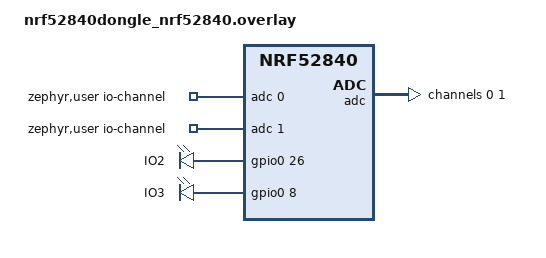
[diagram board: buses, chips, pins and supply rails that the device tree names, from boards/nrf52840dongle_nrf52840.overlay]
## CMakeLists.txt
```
cmake_minimum_required(VERSION 3.20.0)

list(APPEND BOARD_ROOT ${CMAKE_CURRENT_SOURCE_DIR}/)

find_package(Zephyr REQUIRED HINTS $ENV{ZEPHYR_BASE})
project(crazyradio2)

target_sources(app PRIVATE src/main.c src/esb.c src/crusb.c src/led.c src/rpc.c src/radio_mode.c src/api.c src/fem.c src/contwave.c src/button.c src/system.c src/power_measurement.c src/legacy_usb.c)


#[[
target_sources(app PRIVATE src/main.c)
]]
```

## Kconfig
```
menu "Crazyradio 2.0 firmware"

config ESB_PACKET_LOSS_PERCENT
   int "Percent of generated packet loss, between 0 and 100"
   range 0 100
   default 0

config ESB_ACK_LOSS_PERCENT
   int "Percent of generated ack loss, between 0 and 100"
   range 0 100
   default 0
   
menuconfig ESB
    bool "Enhanced ShockBurst"
    default n
    select NRFX_PPI if HAS_HW_NRF_PPI
    select NRFX_DPPI if HAS_HW_NRF_DPPIC
    help
      Enable ESB functionality.

config TARGET_UF2_BOOTLOADER
   bool "Build U2F file and set proper linker setting to work with the UF2 bootloader"
   default false
   select BUILD_OUTPUT_UF2

config FLASH_LOAD_OFFSET
   default 0x27000 if TARGET_UF2_BOOTLOADER && SOC_NRF52833_QIAA
   default 0x26000 if TARGET_UF2_BOOTLOADER && SOC_NRF52840_QIAA

config USE_DCDC
   bool
   depends on SOC_DCDC_NRF52X

config LEGACY_USB_PROTOCOL
   bool "Use legacy, Crazyradio (PA), USB protocol"
   default n

config USB_DEVICE_VID
   default 0x1915 if LEGACY_USB_PROTOCOL
   default 0x35F0 if !LEGACY_USB_PROTOCOL

config USB_DEVICE_PID
   default 0x7777 if LEGACY_USB_PROTOCOL
   default 0xad20 if !LEGACU_USB_PROTOCOL

config CBOR_API_NOTIFY_TEST
   bool "Enable test notification message. Useful to develop CBOR API."
   default n

endmenu

source "Kconfig.zephyr"
```

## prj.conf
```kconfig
# Packet loss simulator
#CONFIG_ESB_PACKET_LOSS_PERCENT=10
#CONFIG_ESB_ACK_LOSS_PERCENT=10

CONFIG_KERNEL_BIN_NAME="crazyradio2"

# Timers and ppi used by the radio
CONFIG_NRFX_PPI=y
CONFIG_NRFX_TIMER0=y
CONFIG_NRFX_TIMER1=y

# USB config
CONFIG_USB_DEVICE_STACK=y
CONFIG_USB_DEVICE_MANUFACTURER="Bitcraze AB"
CONFIG_USB_DEVICE_PRODUCT="Crazyradio Reciever"

# RPC libraries
CONFIG_TINYCBOR=y
CONFIG_CBOR_FLOATING_POINT=y

# Log configuration
CONFIG_STDOUT_CONSOLE=y
CONFIG_LOG=y
CONFIG_LOG_DEFAULT_LEVEL=4
CONFIG_LOG_MAX_LEVEL=4
CONFIG_USB_DRIVER_LOG_LEVEL_ERR=y
CONFIG_USB_DEVICE_LOG_LEVEL_ERR=y
CONFIG_LOG_BACKEND_RTT=y

# RNG config
CONFIG_ENTROPY_GENERATOR=y
CONFIG_XOROSHIRO_RANDOM_GENERATOR=y

#UART config
CONFIG_SERIAL=y
CONFIG_UART_INTERRUPT_DRIVEN=y

#GPIO config
#CONFIG_GPIO=y

CONFIG_CONSOLE=y
CONFIG_UART_CONSOLE=n
CONFIG_RTT_CONSOLE=y
CONFIG_USE_SEGGER_RTT=y

#CONFIG_TARGET_UF2_BOOTLOADER=y

CONFIG_ADC=y
CONFIG_ESB=y
```

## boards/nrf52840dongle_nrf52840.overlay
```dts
/*
 * SPDX-License-Identifier: Apache-2.0
 *
 * Copyright (c) 2022 Nordic Semiconductor ASA
 * Copyright (c) 2023 Bitcraze AB
 */


 / {
	zephyr,user {
		io-channels = <&adc 0>, <&adc 1>;
	};

	aliases {
		// io1 = &io1;
		io2 = &io2;
		io3 = &io3;
	};

	ios {
		compatible = "gpio-leds";
		// io1: io_1 {
		// 	gpios = <&gpio0 4 GPIO_ACTIVE_HIGH>;
		// 	label = "IO1";
		// };
		io2: io_2 {
			gpios = <&gpio0 26 GPIO_ACTIVE_HIGH>;
			label = "IO2";
		};
		io3: io_3 {
			gpios = <&gpio0 8 GPIO_ACTIVE_HIGH>;
			label = "IO3";
		};
	};
};


&adc {
	#address-cells = <1>;
	#size-cells = <0>;

	channel@0 {
		reg = <0>;
		zephyr,gain = "ADC_GAIN_1_6";
		zephyr,reference = "ADC_REF_INTERNAL";
		zephyr,acquisition-time = <ADC_ACQ_TIME_DEFAULT>;
		zephyr,input-positive = <NRF_SAADC_VDD>;
		zephyr,resolution = <14>;
		zephyr,oversampling = <8>;
	};

	channel@1 {
		reg = <1>;
		zephyr,gain = "ADC_GAIN_1_6";
		zephyr,reference = "ADC_REF_INTERNAL";
		zephyr,acquisition-time = <ADC_ACQ_TIME_DEFAULT>;
		zephyr,input-positive = <NRF_SAADC_AIN2>;  // P0.04
		zephyr,resolution = <14>;
		zephyr,oversampling = <8>;
	};
};


&pinctrl {
    uart0_default: uart0_default {
        group1 {
            psels = <NRF_PSEL(UART_TX, 0, 15)>;
        };
        group2 {
            psels = <NRF_PSEL(UART_RX, 0, 17)>;
            bias-pull-up;
        };
    };

    uart0_sleep: uart0_sleep {
		group1 {
			psels = <NRF_PSEL(UART_TX, 0, 15)>, <NRF_PSEL(UART_RX, 0, 17)>;
			low-power-enable;
		};
	};
/* 
	uart1_default: uart1_default {
		group1 {
			psels = <NRF_PSEL(UART_TX, 0, 20)>, <NRF_PSEL(UART_RX, 0, 22)>;
		};
	};

	uart1_sleep: uart1_sleep {
		group1 {
			psels = <NRF_PSEL(UART_TX, 0, 20)>, <NRF_PSEL(UART_RX, 0, 22)>;
			low-power-enable;
		};
	};
	*/
};


/ {
	aliases {
			led0 = &led1_green;
	};
};
/* 
&uart1 {
	status = "okay";
	compatible = "nordic,nrf-uarte";
	current-speed = <115200>;
	pinctrl-0 = <&uart1_default>;
	pinctrl-1 = <&uart1_sleep>;
	pinctrl-names = "default", "sleep";
};
*/
```

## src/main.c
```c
/**
 * ,---------,       ____  _ __
 * |  ,-^-,  |      / __ )(_) /_______________ _____  ___
 * | (  O  ) |     / __  / / __/ ___/ ___/ __ `/_  / / _ \
 * | / ,--´  |    / /_/ / / /_/ /__/ /  / /_/ / / /_/  __/
 *    +------`   /_____/_/\__/\___/_/   \__,_/ /___/\___/
 *
 * Copyright 2023 Bitcraze AB
 *
 * Permission is hereby granted, free of charge, to any person obtaining a copy of this software and associated
 * documentation files (the "Software"), to deal in the Software without restriction, including without limitation the
 * rights to use, copy, modify, merge, publish, distribute, sublicense, and/or sell copies of the Software, and to
 * permit persons to whom the Software is furnished to do so, subject to the following conditions:
 *
 * The above copyright notice and this permission notice shall be included in all copies or substantial portions of the
 * Software.
 *
 * THE SOFTWARE IS PROVIDED "AS IS", WITHOUT WARRANTY OF ANY KIND, EXPRESS OR IMPLIED, INCLUDING BUT NOT LIMITED TO THE
 * WARRANTIES OF MERCHANTABILITY, FITNESS FOR A PARTICULAR PURPOSE AND NONINFRINGEMENT. IN NO EVENT SHALL THE AUTHORS OR
 * COPYRIGHT HOLDERS BE LIABLE FOR ANY CLAIM, DAMAGES OR OTHER LIABILITY, WHETHER IN AN ACTION OF CONTRACT, TORT OR
 * OTHERWISE, ARISING FROM, OUT OF OR IN CONNECTION WITH THE SOFTWARE OR THE USE OR OTHER DEALINGS IN THE SOFTWARE.
 */

#include <zephyr/kernel.h>
#include <zephyr/sys/printk.h>

#include <zephyr/drivers/clock_control.h>
#include <zephyr/drivers/clock_control/nrf_clock_control.h>

#include <zephyr/usb/usb_device.h>

#include "radio_mode.h"
#include "led.h"
#include "crusb.h"
#include "fem.h"
#include "button.h"
#include "esb.h"
#include "legacy_usb.h"
#include "rpc.h"
#include "api.h"

#include <tinycbor/cbor.h>
#include <tinycbor/cbor_buf_reader.h>
#include <tinycbor/cbor_buf_writer.h>

#include <nrfx_clock.h>

#include <nrfx_ppi.h>
#include <hal/nrf_radio.h>


#include <zephyr/logging/log.h>
LOG_MODULE_REGISTER(main, LOG_LEVEL_INF);

int startHFClock(void)
{
    nrfx_clock_hfclk_start();
	return 0;
}

#ifndef CONFIG_LEGACY_USB_PROTOCOL
K_MUTEX_DEFINE(usb_send_buffer_mutex);
void send_usb_message(char* data, size_t length) {
	static struct crusb_message message;
	if (length > USB_MTU) {
		return;
	}

	k_mutex_lock(&usb_send_buffer_mutex, K_FOREVER);
	memcpy(message.data, data, length);
	message.length = length;
	crusb_send(&message);
	k_mutex_unlock(&usb_send_buffer_mutex);
}
#endif

void main(void)
{
    printk("Hello World! %s\n", CONFIG_BOARD);

    // HFCLK crystal is needed by the radio and USB
    startHFClock();

    led_init();
	led_pulse_green(K_MSEC(500));
	led_pulse_red(K_MSEC(500));
	led_pulse_blue(K_MSEC(500));

	button_init();

#ifndef CONFIG_LEGACY_USB_PROTOCOL
    radio_mode_init();
#else
	esb_init();
#endif

	fem_init();

	// Test the FEM
	printk("Enaabling TX\n");
	fem_txen_set(true);
	k_sleep(K_MSEC(10));
	bool enabled = fem_is_pa_enabled();
	printk("PA enabled: %d\n", enabled);
	fem_txen_set(false);

	printk("Enaabling RX\n");
	fem_rxen_set(true);
	k_sleep(K_MSEC(10));
	enabled = fem_is_lna_enabled();
	printk("LNA enabled: %d\n", enabled);
	fem_rxen_set(false);

    int ret = usb_enable(NULL);
	if (ret != 0) {
		LOG_ERR("Failed to enable USB");
		return;
	}

#ifndef CONFIG_LEGACY_USB_PROTOCOL
	rpc_transport_t usb_transport = {
		.mtu = USB_MTU,
		.send = send_usb_message,
	};

    // RPC loop
    while(1) {
        static struct crusb_message message;
		static char response_buffer[USB_MTU];
        crusb_receive(&message);
		LOG_INF("Received %d byte message from usb!", message.length);

		rpc_error_t error = rpc_dispatch(&crazyradio2_rpc_api, message.data, message.length, usb_transport, response_buffer);
		LOG_INF("Dispatching result: %d", error);
    }
#else
	while(1) {
		k_sleep(K_MSEC(1000));
		/*struct usb_command command;
		strcpy(command.payload,"payload");
		command.length = 8;
		legacy_send(&command);
		*/
		/*
		nrf_radio_shorts_enable(NRF_RADIO, RADIO_SHORTS_READY_START_Msk | RADIO_SHORTS_END_DISABLE_Msk);
		nrf_radio_shorts_enable(NRF_RADIO, RADIO_SHORTS_DISABLED_RXEN_Msk);
		nrf_ppi_channel_enable(NRF_PPI, NRF_PPI_CHANNEL27); // END -> Timer0 Capture[2]
		nrfx_ppi_channel_enable(NRF_PPI_CHANNEL26);  // RADIO_ADDR -> T0[1]  (debug)
		*/
	}
#endif
}
```

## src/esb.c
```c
/**
 * ,---------,       ____  _ __
 * |  ,-^-,  |      / __ )(_) /_______________ _____  ___
 * | (  O  ) |     / __  / / __/ ___/ ___/ __ `/_  / / _ \
 * | / ,--´  |    / /_/ / / /_/ /__/ /  / /_/ / / /_/  __/
 *    +------`   /_____/_/\__/\___/_/   \__,_/ /___/\___/
 *
 * Copyright 2023 Bitcraze AB
 *
 * Permission is hereby granted, free of charge, to any person obtaining a copy of this software and associated
 * documentation files (the "Software"), to deal in the Software without restriction, including without limitation the
 * rights to use, copy, modify, merge, publish, distribute, sublicense, and/or sell copies of the Software, and to
 * permit persons to whom the Software is furnished to do so, subject to the following conditions:
 *
 * The above copyright notice and this permission notice shall be included in all copies or substantial portions of the
 * Software.
 *
 * THE SOFTWARE IS PROVIDED "AS IS", WITHOUT WARRANTY OF ANY KIND, EXPRESS OR IMPLIED, INCLUDING BUT NOT LIMITED TO THE
 * WARRANTIES OF MERCHANTABILITY, FITNESS FOR A PARTICULAR PURPOSE AND NONINFRINGEMENT. IN NO EVENT SHALL THE AUTHORS OR
 * COPYRIGHT HOLDERS BE LIABLE FOR ANY CLAIM, DAMAGES OR OTHER LIABILITY, WHETHER IN AN ACTION OF CONTRACT, TORT OR
 * OTHERWISE, ARISING FROM, OUT OF OR IN CONNECTION WITH THE SOFTWARE OR THE USE OR OTHER DEALINGS IN THE SOFTWARE.
 */

#include "esb.h"

#include "fem.h"

#include <zephyr/kernel.h>

#include <hal/nrf_radio.h>
#include <nrfx_ppi.h>
#include <nrfx_timer.h>

#include <zephyr/types.h>
#include <soc.h>
#include <zephyr/device.h>
#include <zephyr/random/rand32.h>

#include <zephyr/logging/log.h>
LOG_MODULE_REGISTER(radio);

static K_MUTEX_DEFINE(radio_busy);
static K_SEM_DEFINE(radioXferDone, 0, 1);

static bool isInit = false;
static bool sending;
static bool timeout;
static uint8_t pid = 0;
static struct esbPacket_s * ackBuffer;
static bool ack_enabled = true;
static int arc = 3;

const nrfx_timer_t timer0 = NRFX_TIMER_INSTANCE(0);

static uint32_t swap_bits(uint32_t inp)
{
  uint32_t i;
  uint32_t retval = 0;

  inp = (inp & 0x000000FFUL);

  for(i = 0; i < 8; i++)
  {
    retval |= ((inp >> i) & 0x01) << (7 - i);
  }

  return retval;
}

static uint32_t bytewise_bitswap(uint32_t inp)
{
  return (swap_bits(inp >> 24) << 24)
       | (swap_bits(inp >> 16) << 16)
       | (swap_bits(inp >> 8) << 8)
       | (swap_bits(inp));
}

static void radio_isr(void *arg)
{
    LOG_DBG("Radio INterrupt");
    sending = true;
    ack_enabled = true;
    __NOP();
    if (sending) {
        // Packet sent!, the radio is currently switching to RX mode
        // We need to setup the timeout timer, the END time is
        // captured in timer.CC0[2] and timer0.CC[1] is going to be
        // used for the timeout

        if (ack_enabled) {
            // Switch the FEM to receive mode
            fem_txen_set(false);
            fem_rxen_set(true);

            // Setup ack data address
            nrf_radio_packetptr_set(NRF_RADIO, ackBuffer);

            // Set timeout time
            uint32_t endTime = nrf_timer_cc_get(NRF_TIMER0, NRF_TIMER_CC_CHANNEL2);
            nrf_timer_cc_set(NRF_TIMER0, NRF_TIMER_CC_CHANNEL1, endTime + 500);

            // Configure PPI
            nrfx_ppi_channel_disable(NRF_PPI_CHANNEL27); // RADIO_END -> T0[2]
            nrfx_ppi_channel_enable(NRF_PPI_CHANNEL26);  // RADIO_ADDR -> T0[1] (Disables timeout!)
            nrfx_ppi_channel_enable(NRF_PPI_CHANNEL22);  // T0[1] -> RADIO_DISABLE (Timeout!)

            // Disable chaining short, disable will switch off the radio for good
            nrf_radio_shorts_disable(NRF_RADIO, RADIO_SHORTS_DISABLED_RXEN_Msk);

            // We are now in receiving mode and there has been not timeout yet
            sending = false;
            timeout = false;
        } else {
            k_sem_give(&radioXferDone);
        }
    } else {
        // Packet received or timeout
        // Disable FEM
        fem_rxen_set(false);

        timeout = nrf_timer_event_check(NRF_TIMER0, NRF_TIMER_EVENT_COMPARE1);
        nrf_timer_event_clear(NRF_TIMER0, NRF_TIMER_EVENT_COMPARE1);

        nrfx_ppi_channel_disable(NRF_PPI_CHANNEL26);  // RADIO_ADDR -> T0[1] (Disables timeout!)
        nrfx_ppi_channel_disable(NRF_PPI_CHANNEL22);  // T0[1] -> RADIO_DISABLE (Timeout!)


        k_sem_give(&radioXferDone);
    }

    nrf_radio_event_clear(NRF_RADIO, NRF_RADIO_EVENT_DISABLED);
    nrf_radio_event_clear(NRF_RADIO, NRF_RADIO_EVENT_END);
}
/* Public API */

// S1 is used for compatibility with NRF24L0+. These three bits are used
// to store the PID and NO_ACK.
#define PACKET0_S1_SIZE                  (3UL)
// S0 is not used
#define PACKET0_S0_SIZE                  (0UL)
// The size of the packet length field is 6 bits
#define PACKET0_PAYLOAD_SIZE             (6UL)
// The size of the base address field is 4 bytes
#define PACKET1_BASE_ADDRESS_LENGTH      (4UL)
// Don't use any extra added length besides the length field when sending
#define PACKET1_STATIC_LENGTH            (0UL)
// Max payload allowed in a packet
#define PACKET1_PAYLOAD_SIZE             (63UL)

void esb_init()
{
  NRF_RADIO->POWER = 1;

  NRF_RADIO->TXPOWER = (RADIO_TXPOWER_TXPOWER_0dBm << RADIO_TXPOWER_TXPOWER_Pos);

      NRF_RADIO->MODE = (RADIO_MODE_MODE_Nrf_2Mbit << RADIO_MODE_MODE_Pos);


  NRF_RADIO->FREQUENCY = 80;
    static uint64_t address = 0xE7E7E7E7E7ULL;
  // Radio address config
  // We use local addresses 0 and 1
  //  * local address 0 is the unique address of the Crazyflie, used for 1-to-1 communication.
  //    This can be set dynamically and the current address is stored in EEPROM.
  //  * local address 1 is used for broadcasts
  //    This is currently 0xFFE7E7E7E7.
  NRF_RADIO->PREFIX0 = 0xC4C3FF00UL | (bytewise_bitswap(address >> 32) & 0xFF);  // Prefix byte of addresses 3 to 0
  NRF_RADIO->PREFIX1 = 0xC5C6C7C8UL;  // Prefix byte of addresses 7 to 4
  NRF_RADIO->BASE0   = bytewise_bitswap((uint32_t)address);  // Base address for prefix 0
  NRF_RADIO->BASE1   = 0xE7E7E7E7UL;  // Base address for prefix 1-7
  NRF_RADIO->TXADDRESS = 0x00UL;      // Set device address 0 to use when transmitting
  NRF_RADIO->RXADDRESSES = 3;//(1<<0) | (1<<1);    // Enable device address 0 and 1 to use which receiving

  // Packet configuration
  NRF_RADIO->PCNF0 = (PACKET0_S1_SIZE << RADIO_PCNF0_S1LEN_Pos) |
                     (PACKET0_S0_SIZE << RADIO_PCNF0_S0LEN_Pos) |
                     (PACKET0_PAYLOAD_SIZE << RADIO_PCNF0_LFLEN_Pos);

  // Packet configuration
   NRF_RADIO->PCNF1 = (RADIO_PCNF1_WHITEEN_Disabled << RADIO_PCNF1_WHITEEN_Pos)    |
                      (RADIO_PCNF1_ENDIAN_Big << RADIO_PCNF1_ENDIAN_Pos)           |
                      (PACKET1_BASE_ADDRESS_LENGTH << RADIO_PCNF1_BALEN_Pos)       |
                      (PACKET1_STATIC_LENGTH << RADIO_PCNF1_STATLEN_Pos)           |
                      (PACKET1_PAYLOAD_SIZE << RADIO_PCNF1_MAXLEN_Pos);

  // CRC Config
  NRF_RADIO->CRCCNF = (RADIO_CRCCNF_LEN_Two << RADIO_CRCCNF_LEN_Pos); // Number of checksum bits
  NRF_RADIO->CRCINIT = 0xFFFFUL;      // Initial value
  NRF_RADIO->CRCPOLY = 0x11021UL;     // CRC poly: x^16+x^12^x^5+1

  // Enable interrupt for end event
  //NRF_RADIO->INTENSET = RADIO_INTENSET_END_Msk;

  // Set all shorts so that RSSI is measured and only END is required interrupt
  NRF_RADIO->SHORTS = RADIO_SHORTS_READY_START_Msk;
  NRF_RADIO->SHORTS |= RADIO_SHORTS_ADDRESS_RSSISTART_Msk;
  NRF_RADIO->SHORTS |= RADIO_SHORTS_DISABLED_TXEN_Msk;
  NRF_RADIO->SHORTS |= RADIO_SHORTS_DISABLED_RSSISTOP_Enabled;


  // Set RX buffer and start RX
  
  NRF_RADIO->PACKETPTR = (uint32_t)ackBuffer;
  NRF_RADIO->TASKS_RXEN = 1U;

  nrf_radio_int_enable(NRF_RADIO,RADIO_INTENSET_END_Msk);
    IRQ_CONNECT(RADIO_IRQn, 3, radio_isr, NULL, 0);
    irq_enable(RADIO_IRQn);

  isInit = true;
}

/*void esb_init()
{
    // Timer0
    nrf_timer_bit_width_set(NRF_TIMER0, NRF_TIMER_BIT_WIDTH_32);
    nrf_timer_frequency_set(NRF_TIMER0, NRF_TIMER_FREQ_1MHz);
    nrf_timer_task_trigger(NRF_TIMER0, NRF_TIMER_TASK_CLEAR);
    nrf_timer_task_trigger(NRF_TIMER0, NRF_TIMER_TASK_START);

    nrf_radio_power_set(NRF_RADIO, true);

    nrf_radio_txpower_set(NRF_RADIO, NRF_RADIO_TXPOWER_0DBM);

    // Low level packet configuration
    nrf_radio_packet_conf_t radioConfig = {0,};
    radioConfig.lflen = 6;
    radioConfig.s0len = 0;
    radioConfig.s1len = 3;
    radioConfig.maxlen = 64; //32 in original
    radioConfig.statlen = 0;
    radioConfig.balen = 4;
    radioConfig.big_endian = true;
    radioConfig.whiteen = false;
    nrf_radio_packet_configure(NRF_RADIO, &radioConfig);

    // Configure channel and bitrate
    nrf_radio_mode_set(NRF_RADIO, NRF_RADIO_MODE_NRF_2MBIT); // 1 byte Preamble len 0xAA or 0x55 
    nrf_radio_frequency_set(NRF_RADIO, 2480); //80 for fly 2447 in original //TODO have to check if 80 is correct maybe 2480 or someting

    // Configure Addresses
    nrf_radio_base0_set(NRF_RADIO, 0xe7e7e7e7); // 0xE7E7E7E7 for fly
    nrf_radio_prefix0_set(NRF_RADIO, 0x000000ff);
    nrf_radio_txaddress_set(NRF_RADIO, 0);
    nrf_radio_rxaddresses_set(NRF_RADIO, 0x01u);
    
    // Should be correct, doenst work with vanilla 
    uint64_t address = 0xE7E7E7E7E7ULL;
    nrf_radio_base0_set(NRF_RADIO,bytewise_bitswap((uint32_t)address));
    nrf_radio_base1_set(NRF_RADIO, 0xE7E7E7E7UL);
    nrf_radio_prefix0_set(NRF_RADIO,0xC4C3FF00UL | (bytewise_bitswap(address >> 32) & 0xFF));
    nrf_radio_prefix1_set(NRF_RADIO,0xC5C6C7C8UL);
    nrf_radio_txaddress_set(NRF_RADIO, 0);
    nrf_radio_rxaddresses_set(NRF_RADIO, (1<<0) | (1<<1));    
    

    // Configure CRC
    nrf_radio_crc_configure(NRF_RADIO, 2, NRF_RADIO_CRC_ADDR_INCLUDE, 0x11021UL);
    nrf_radio_crcinit_set(NRF_RADIO, 0xfffful);
    // same as in the fly 

    // Acquire RSSI at radio address
    //nrf_radio_shorts_enable(NRF_RADIO, NRF_RADIO_SHORT_ADDRESS_RSSISTART_MASK | NRF_RADIO_SHORT_DISABLED_RSSISTOP_MASK);
    nrf_radio_shorts_enable(NRF_RADIO, RADIO_SHORTS_READY_START_Msk | RADIO_SHORTS_END_DISABLE_Msk | RADIO_SHORTS_ADDRESS_RSSISTART_Msk | RADIO_SHORTS_DISABLED_TXEN_Msk | RADIO_SHORTS_DISABLED_RSSISTOP_Enabled);
    
    // Enable disabled interrupt only, the rest is handled by shorts
    //nrf_radio_int_enable(NRF_RADIO, NRF_RADIO_INT_DISABLED_MASK);
    nrf_radio_int_enable(NRF_RADIO,RADIO_INTENSET_END_Msk);
    IRQ_CONNECT(RADIO_IRQn, 2, radio_isr, NULL, 0);
    irq_enable(RADIO_IRQn);

    nrf_radio_task_trigger(NRF_RADIO, NRF_RADIO_TASK_RXEN);

    fem_init();

    ack_enabled = true;
    arc = 3;

    isInit = true;
}*/

void esb_deinit()
{
    k_mutex_lock(&radio_busy, K_FOREVER);

    isInit = false;

    nrf_radio_task_trigger(NRF_RADIO, NRF_RADIO_TASK_DISABLE);
    // It can take up to 140us for the radio to disable itself
    k_sleep(K_USEC(200));
    nrf_radio_event_clear(NRF_RADIO, NRF_RADIO_EVENT_DISABLED);
    nrf_timer_task_trigger(NRF_TIMER0, NRF_TIMER_TASK_STOP);
    nrf_radio_power_set(NRF_RADIO, false);
    irq_disable(RADIO_IRQn);

    k_sem_reset(&radioXferDone);

    k_mutex_unlock(&radio_busy);
}

void esb_set_arc(int value) {
    k_mutex_lock(&radio_busy, K_FOREVER);
    arc = value & 0x0f;
    k_mutex_unlock(&radio_busy);
}

void esb_set_ack_enabled(bool enabled) {
    k_mutex_lock(&radio_busy, K_FOREVER);
    ack_enabled = enabled;
    k_mutex_unlock(&radio_busy);
}

void esb_set_channel(uint8_t channel)
{
    k_mutex_lock(&radio_busy, K_FOREVER);
    if (channel <= 100) {
        nrf_radio_frequency_set(NRF_RADIO, 2400+channel);
    }
    k_mutex_unlock(&radio_busy);
}

void esb_set_bitrate(esbBitrate_t bitrate)
{
    k_mutex_lock(&radio_busy, K_FOREVER);
    switch(bitrate) {
        case radioBitrate1M:
            nrf_radio_mode_set(NRF_RADIO, RADIO_MODE_MODE_Nrf_1Mbit);
            break;
        case radioBitrate2M:
            nrf_radio_mode_set(NRF_RADIO, RADIO_MODE_MODE_Nrf_2Mbit);
            break;
    }
    k_mutex_unlock(&radio_busy);
}

void esb_set_address(uint8_t address[5])
{
    k_mutex_lock(&radio_busy, K_FOREVER);
    uint32_t base0 = address[1]<<24 | address[2]<<16 | address[3]<<8 | address[4];
    nrf_radio_base0_set(NRF_RADIO, bytewise_bitswap(base0));
    uint32_t prefix0 = nrf_radio_prefix0_get(NRF_RADIO);
    prefix0 = (prefix0 & 0xffffff00) | (swap_bits(address[0]) & 0x0ff);
    nrf_radio_prefix0_set(NRF_RADIO, prefix0);
    k_mutex_unlock(&radio_busy);
}

bool esb_send_packet(struct esbPacket_s *packet, struct esbPacket_s * ack, uint8_t *rssi, uint8_t* retry)
{
    if (!isInit) {
        return false;
    }

    k_mutex_lock(&radio_busy, K_FOREVER);

    static int lossCounter = 0;
    static int ackLossCounter = 0;

    // Drop packet ocasionally
    if (CONFIG_ESB_PACKET_LOSS_PERCENT != 0 && (sys_rand32_get() % 100) < CONFIG_ESB_PACKET_LOSS_PERCENT) {
        lossCounter = 0;

        k_mutex_unlock(&radio_busy);

        return false;
    } else {
        // Handling packet PID
        packet->s1 = (pid<<1);
        pid++;

        bool ack_received = false;

        int arc_counter = 0;

        do {
            nrf_radio_shorts_enable(NRF_RADIO, RADIO_SHORTS_READY_START_Msk |
                                        RADIO_SHORTS_END_DISABLE_Msk);
            if (ack_enabled) {
                nrf_radio_shorts_enable(NRF_RADIO, RADIO_SHORTS_DISABLED_RXEN_Msk);
            }
            nrf_ppi_channel_enable(NRF_PPI, NRF_PPI_CHANNEL27); // END -> Timer0 Capture[2]
            nrfx_ppi_channel_enable(NRF_PPI_CHANNEL26);  // RADIO_ADDR -> T0[1]  (debug)
            
            nrf_radio_packetptr_set(NRF_RADIO, packet);
            ack->length = 0;
            ackBuffer = ack;

            // Enable FEM PA
            fem_txen_set(true);

            sending = true;
            nrf_radio_task_trigger(NRF_RADIO, NRF_RADIO_TASK_TXEN);

            k_sem_take(&radioXferDone, K_FOREVER);

            ack_received = (!timeout) && nrf_radio_crc_status_check(NRF_RADIO) && ack_enabled;

            arc_counter += 1;

            // This test means that ARC will affect broadcast as well: broadcast are going to be send "arc" times
            if (ack_received) {
                break;
            }

        } while (arc_counter <= arc);
        
        *rssi = nrf_radio_rssi_sample_get(NRF_RADIO);
        *retry = arc_counter - 1;

        // Drop ack packet ocasionally
        if (CONFIG_ESB_ACK_LOSS_PERCENT != 0 && (sys_rand32_get() % 100) < CONFIG_ESB_ACK_LOSS_PERCENT) {
            ackLossCounter = 0;
            k_mutex_unlock(&radio_busy);
            return false;
        }

        k_mutex_unlock(&radio_busy);

        return ack_received;
    }
}

// RPC API
void esb_send_packet_rpc(const rpc_request_t *request, rpc_response_t *response)
{
    struct esbPacket_s packet = {0,};
    struct esbPacket_s ackPacket = {0,};
    char * error = "Bad Request";

    if (!isInit) {
        rpc_response_send_errorstr(response, "NotInitialized");
        return;
    }

    if (!cbor_value_is_array(&request->param)) {
        goto bad_request;
    }
    CborValue array;
    cbor_value_enter_container(&request->param, &array);

    // Channel
    if (!cbor_value_is_unsigned_integer(&array)) {
        error = "Request is not an array";
        goto bad_request;
    }
    uint64_t channel;
    cbor_value_get_uint64(&array, &channel);
    cbor_value_advance(&array);
    if (channel > 100) {
        error = "Channel out of range";
        goto bad_request;
    }
    esb_set_channel(channel);

    // Address
    if (!cbor_value_is_byte_string(&array)) {
        error = "Address is not a byte string";
        goto bad_request;
    }
    size_t address_length;
    cbor_value_calculate_string_length(&array, &address_length);
    if (address_length != 5) {
        error = "Address is not 5 bytes long";
        goto bad_request;
    }
    uint8_t address[5];
    cbor_value_copy_byte_string(&array, address, &address_length, &array);
    esb_set_address(address);

    // Payload
    if (!cbor_value_is_byte_string(&array)) {
        error = "Payload is not a byte string";
        goto bad_request;
    }
    size_t payload_length;
    cbor_value_calculate_string_length(&array, &payload_length);
    if (payload_length > 32) {
        error = "Payload is too long";
        goto bad_request;
    }
    packet.length = payload_length;
    cbor_value_copy_byte_string(&array, packet.data, &payload_length, &array);

    // Send packet!
    uint8_t rssi;
    uint8_t arc_counter;
    bool acked = esb_send_packet(&packet, &ackPacket, &rssi, &arc_counter);

    // Report ack
    CborEncoder *result = rpc_response_prepare_result(response);

    CborEncoder result_array;
    cbor_encoder_create_array(result, &result_array, 3);

    cbor_encode_boolean(&result_array, acked);
    if (acked) {
        cbor_encode_byte_string(&result_array, ackPacket.data, ackPacket.length);
    } else {
        cbor_encode_null(&result_array);
    }

    cbor_encode_uint(&result_array, rssi);

    cbor_encoder_close_container(result, &result_array);

    rpc_response_send(response);

    return;
bad_request:
    rpc_response_send_errorstr(response, error);
}
```

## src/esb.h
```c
/**
 * ,---------,       ____  _ __
 * |  ,-^-,  |      / __ )(_) /_______________ _____  ___
 * | (  O  ) |     / __  / / __/ ___/ ___/ __ `/_  / / _ \
 * | / ,--´  |    / /_/ / / /_/ /__/ /  / /_/ / / /_/  __/
 *    +------`   /_____/_/\__/\___/_/   \__,_/ /___/\___/
 *
 * Copyright 2023 Bitcraze AB
 *
 * Permission is hereby granted, free of charge, to any person obtaining a copy of this software and associated
 * documentation files (the "Software"), to deal in the Software without restriction, including without limitation the
 * rights to use, copy, modify, merge, publish, distribute, sublicense, and/or sell copies of the Software, and to
 * permit persons to whom the Software is furnished to do so, subject to the following conditions:
 *
 * The above copyright notice and this permission notice shall be included in all copies or substantial portions of the
 * Software.
 *
 * THE SOFTWARE IS PROVIDED "AS IS", WITHOUT WARRANTY OF ANY KIND, EXPRESS OR IMPLIED, INCLUDING BUT NOT LIMITED TO THE
 * WARRANTIES OF MERCHANTABILITY, FITNESS FOR A PARTICULAR PURPOSE AND NONINFRINGEMENT. IN NO EVENT SHALL THE AUTHORS OR
 * COPYRIGHT HOLDERS BE LIABLE FOR ANY CLAIM, DAMAGES OR OTHER LIABILITY, WHETHER IN AN ACTION OF CONTRACT, TORT OR
 * OTHERWISE, ARISING FROM, OUT OF OR IN CONNECTION WITH THE SOFTWARE OR THE USE OR OTHER DEALINGS IN THE SOFTWARE.
 */

#pragma once
#include <stdint.h>
#include <stdbool.h>

void esb_init();
void esb_init_old();
void esb_deinit();

/**
 * @brief Set the radio channel to be used for the next communications
 * 
 * The radio frequency will be 2400MHz + \p channel
 * 
 * @param channel A channel from 0 to 100
 */
void esb_set_channel(uint8_t channel);

/**
 * @brief Possible radio bitrate
 */
typedef enum {
    radioBitrate1M,
    radioBitrate2M
} esbBitrate_t;

/**
 * @brief Set the number of retries if no ack has been received
 * @param value Number of retries
 * 
 * @note This also affects no-ack (ie. broadcast) packets: no-ack packet will always be sent "arc" times in a row
 */
void esb_set_arc(int value);

/**
 * @brief Set if an ack will be received or not
 * @param enabled True to receive an ack after sending a packer. False to just send.
 * 
 * Setting ack_enabled to false is usually done to send broadcast packets
 */
void esb_set_ack_enabled(bool enabled);

/**
 * @brief Set the radio bitrate for the next communications
 * @param bitrate The bitrate to set
 */
void esb_set_bitrate(esbBitrate_t bitrate);

/**
 * @brief Set the radio address
 * @param address Radio address
 */
void esb_set_address(uint8_t address[5]);

/**
 * @brief ESB radio packet
 * 
 * This structure is a packed structure that contains all data that can be read and written
 * by the nRF radio hardware. The field \a s1 will be filled up by the esb_send_packet() function.
 */
struct esbPacket_s {
    uint8_t length;
    uint8_t s1;
    char data[32];
} __attribute__((packed));


/* ESB Radio packet */
typedef struct esbPacket_l {
  /* Part that is written by the radio DMA */
  struct {
    uint8_t size;
    union {
      uint8_t s1;
      struct {
        uint8_t ack :1;
        uint8_t pid :2;
      };
    };
    uint8_t data[63];
  } __attribute__((packed));
  /* Written by the radio interrupt routine */
  /* Since the value of the RSSI sample can only be between ~[0, 100] we down cast
   * from uint32_t to uint8_t without lose of precision */
  uint8_t rssi;
  unsigned int crc;
  uint8_t match;
} EsbPacket_l;

#define ESB_UNICAST_ADDRESS_MATCH 0
#define ESB_MULTICAST_ADDRESS_MATCH 1

// 1bit packet counters
static volatile int curr_down = 1;
static volatile int curr_up = 1;

static volatile bool has_safelink;

/**
 * Send a packet and wait for and received an acknoledgement
 * 
 * @param packet ESB packet to send
 * @param ack Structure that will be filled up with the ESB ack packet
 * @param rssi Pointer to a u8 that will be filled up with the ACK RSSI
 * @param retry Number of retry required to received an ack
 * 
 * @return true if an ack has been properly received, false otherwise. the parameters
 *         ack and rssi are only filled up if an ack has been recievde.
 * 
 * @note This function will always return false if ack_enabled has been set to false.
*/
bool esb_send_packet(struct esbPacket_s *packet, struct esbPacket_s * ack, uint8_t *rssi, uint8_t *retry);

// RPC API
#include "rpc.h"

void esb_send_packet_rpc(const rpc_request_t *request, rpc_response_t *response);

// read receiving queue API
int radioq_get( struct esbPacket_l *command);
void reInit_esb();
```

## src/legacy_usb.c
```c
#include <autoconf.h>
#ifdef CONFIG_LEGACY_USB_PROTOCOL

#include <zephyr/kernel.h>

#include <zephyr/sys/byteorder.h>
#include <zephyr/usb/usb_ch9.h>
#include <zephyr/usb/usb_device.h>
#include <zephyr/usb/bos.h>

#include "esb.h"
#include "fem.h"
#include "led.h"
#include "system.h"
#include "legacy_usb.h"
#include <zephyr/logging/log.h>
LOG_MODULE_REGISTER(usb);



K_MSGQ_DEFINE(command_queue, sizeof(struct usb_command), 10, 4);

static void fw_scan(uint8_t start, uint8_t stop, char* data, int data_length);

// state
static struct {
    uint8_t datarate;
	uint8_t channel;
    bool ack_enabled;
    uint8_t scan_result[63];
    int scan_result_length;
} state = {
    .datarate = 2,
	.channel = 2,
    .ack_enabled = true,
};

struct usb_crazyradio_config {
	struct usb_if_descriptor if0;
	struct usb_ep_descriptor if0_out_ep;
	struct usb_ep_descriptor if0_in_ep;
} __packed;

#define CRAZYRADIO_OUT_EP_ADDR 0x01
#define CRAZYRADIO_IN_EP_ADDR 0x81
#define CONFIG_CRAZYRADIO_BULK_EP_MPS 64

USBD_CLASS_DESCR_DEFINE(primary, 0) struct usb_crazyradio_config crazyradio_cfg = {
	/* Interface descriptor 0 */
	.if0 = {
		.bLength = sizeof(struct usb_if_descriptor),
		.bDescriptorType = USB_DESC_INTERFACE,
		.bInterfaceNumber = 0,
		.bAlternateSetting = 0,
		.bNumEndpoints = 2,
		.bInterfaceClass = USB_BCC_VENDOR,
		.bInterfaceSubClass = 0,
		.bInterfaceProtocol = 0,
		.iInterface = 0,
	},

	/* Data Endpoint OUT */
	.if0_out_ep = {
		.bLength = sizeof(struct usb_ep_descriptor),
		.bDescriptorType = USB_DESC_ENDPOINT,
		.bEndpointAddress = CRAZYRADIO_OUT_EP_ADDR,
		.bmAttributes = USB_DC_EP_BULK,
		.wMaxPacketSize = sys_cpu_to_le16(CONFIG_CRAZYRADIO_BULK_EP_MPS),
		.bInterval = 0x00,
	},

	/* Data Endpoint IN */
	.if0_in_ep = {
		.bLength = sizeof(struct usb_ep_descriptor),
		.bDescriptorType = USB_DESC_ENDPOINT,
		.bEndpointAddress = CRAZYRADIO_IN_EP_ADDR,
		.bmAttributes = USB_DC_EP_BULK,
		.wMaxPacketSize = sys_cpu_to_le16(CONFIG_CRAZYRADIO_BULK_EP_MPS),
		.bInterval = 0x00,
	},
};

void crazyradio_out_cb(uint8_t ep, enum usb_dc_ep_cb_status_code cb_status)
{
    uint32_t bytes_to_read;
    static struct usb_command command;

	usb_read(ep, NULL, 0, &bytes_to_read);
	LOG_DBG("ep 0x%x, bytes to read %d ", ep, bytes_to_read);
    if (bytes_to_read > 64) {
        bytes_to_read = 64;
    }
	usb_read(ep, command.payload, bytes_to_read, NULL);

	command.length = bytes_to_read;

    k_msgq_put(&command_queue, &command, K_FOREVER);

}

void crazyradio_in_cb(uint8_t ep, enum usb_dc_ep_cb_status_code cb_status)
{
	// Nop
}

static struct usb_ep_cfg_data ep_cfg[] = {
	{
		.ep_cb = crazyradio_out_cb,
		.ep_addr = CRAZYRADIO_OUT_EP_ADDR,
	},
	{
		.ep_cb = crazyradio_in_cb,
		.ep_addr = CRAZYRADIO_IN_EP_ADDR,
	},
};

//Vendor control messages and commands
#define SET_RADIO_CHANNEL 0x01
#define SET_RADIO_ADDRESS 0x02
#define SET_DATA_RATE     0x03
#define SET_RADIO_POWER   0x04
#define SET_RADIO_ARD     0x05
#define SET_RADIO_ARC     0x06
#define ACK_ENABLE        0x10
#define SET_CONT_CARRIER  0x20
#define CHANNEL_SCANN     0x21
#define SET_MODE          0x22
#define RESET_TO_BOOTLOADER 0xff

// nRF24 power mapping
// Those number are currently placeholder
// Todo: use hardware test results to set approximate values there
static uint8_t power_mapping[] = {
    1,   // -18dBm ->  2dBm for CRPA
    10,  // -12dBm ->  8dBm for CRPA
    20,  // -6dBm  -> 12dBm for CRPA
    31,  //  0dBm  -> 20dBm for CRPA
};

static int crazyradio_vendor_handler(struct usb_setup_packet *setup,
				   int32_t *len, uint8_t **data)
{
	LOG_DBG("Class request: bRequest 0x%x bmRequestType 0x%x len %d",
		setup->bRequest, setup->bmRequestType, *len);
	
	if (USB_REQTYPE_GET_TYPE(setup->bmRequestType) == USB_REQTYPE_TYPE_VENDOR) {
		
		if (setup->bRequest == SET_RADIO_CHANNEL && setup->wLength == 0) {
			LOG_DBG("Setting radio channel %d", setup->wValue);
			uint16_t channel = setup->wValue;
			if (channel <= 100) {
				esb_set_channel(channel);
			}
			// If channel >100 used, packets will be ignored (ie. virtually not acked)
			state.channel = channel;
		} else if (setup->bRequest == SET_RADIO_ADDRESS && setup->wLength == 5) {
			LOG_DBG("Setting radio address %02x%02x%02x%02x%02x", (unsigned int)(*data)[0], (unsigned int)(*data)[1], (unsigned int)(*data)[2], (unsigned int)(*data)[3], (unsigned int)(*data)[4]);
			esb_set_address(*data);
		} else if (setup->bRequest == SET_DATA_RATE && setup->wLength == 0 && setup->wValue < 3) {
			char* datarates[] = {"250K", "1M", "2M"};
			LOG_DBG("Setting radio datarate to %s", datarates[setup->wValue]);
			uint32_t datarate = setup->wValue;
            if (datarate == 1) {
				esb_set_bitrate(radioBitrate1M);
            } else if (datarate == 2) {
                esb_set_bitrate(radioBitrate2M);
            }
			// If 250K is selected, packets will be ignored (ie. virtually not acked)
			state.datarate = datarate;
		} else if (setup->bRequest == SET_RADIO_POWER && setup->wLength == 0) {
			LOG_DBG("Setting radio power %d", setup->wValue);
            uint8_t power = MIN(setup->wValue, 3);
            uint8_t fem_power = power_mapping[power];
            fem_set_power(fem_power);
		} else if (setup->bRequest == SET_RADIO_ARD && setup->wLength == 0) {
			LOG_DBG("Setting radio ARD %d", setup->wValue);
		} else if (setup->bRequest == SET_RADIO_ARC && setup->wLength == 0) {
			LOG_DBG("Setting radio ARC %d", setup->wValue & 0x0f);
            esb_set_arc(setup->wValue & 0x0f);
		} else if (setup->bRequest == ACK_ENABLE && setup->wLength == 0) {
            bool enabled = setup->wValue != 0;
			LOG_DBG("Setting radio ACK Enable %s", enabled?"true":"false");
            state.ack_enabled = enabled;
            esb_set_ack_enabled(enabled);
		} else if (setup->bRequest == SET_CONT_CARRIER && setup->wLength == 0) {
			LOG_DBG("Setting radio Continious carrier %s", setup->wValue?"true":"false");
        } else if (setup->bRequest == CHANNEL_SCANN && usb_reqtype_is_to_device(setup)) {
            uint8_t start = setup->wValue;
            uint8_t stop = setup->wIndex;
            fw_scan(start, stop, *data,setup->wLength);
        } else if (setup->bRequest == CHANNEL_SCANN && usb_reqtype_is_to_host(setup)) {
            *data = state.scan_result;
            *len = MIN(state.scan_result_length, setup->wLength);
		} else if (setup->bRequest == SET_MODE && setup->wLength == 0) {
			LOG_DBG("Setting radio Mode %d", setup->wValue);
        } else if (setup->bRequest == RESET_TO_BOOTLOADER && setup->wLength == 0) {
            system_reset_to_uf2();
		} else {
			return -ENOTSUP;
		}
    }

	return 0;
}

void crazyradio_status_cb(struct usb_cfg_data * data, enum usb_dc_status_code cb_status, const uint8_t *param)
{
	;
}

void crazyradio_interface_config(struct usb_desc_header *head, uint8_t bInterfaceNumber)
{
	;
}

USBD_CFG_DATA_DEFINE(primary, crazyradio) struct usb_cfg_data crazyradio_config = {
	.usb_device_description = NULL,
	.interface_config = crazyradio_interface_config,
	.interface_descriptor = &crazyradio_cfg.if0,
	.cb_usb_status = crazyradio_status_cb,
	.interface = {
		.class_handler = NULL,
		.custom_handler = NULL,
		.vendor_handler = crazyradio_vendor_handler,
	},
	.num_endpoints = ARRAY_SIZE(ep_cfg),
	.endpoint = ep_cfg,
};

#define USB_THREAD_STACK_SIZE 500
#define USB_THREAD_PRIORITY 5

static void usb_thread(void *, void *, void *);

K_THREAD_DEFINE(usb_tid, USB_THREAD_STACK_SIZE,
                usb_thread, NULL, NULL, NULL,
                USB_THREAD_PRIORITY, 0, 0);

static void usb_thread(void *, void *, void *) {
    static struct usb_command command;
    static struct esbPacket_s packet;
    static struct esbPacket_s ack;
    uint8_t rssi;
    uint8_t arc_counter;

    while(1) {
        k_msgq_get(&command_queue, &command, K_FOREVER);

        // If we are not receiving ack (ie. broadcast) and the received data is > 32 bytes,
        // this means that the buffer actually contains 2 packets to send
        if (!state.ack_enabled && command.length > 32) {
            // Send the first one right away
            memcpy(packet.data, command.payload, command.length/2);
            packet.length = command.length/2;
            esb_send_packet(&packet, &ack, &rssi, &arc_counter);

            // And prepare the second one to be send by the normal execution flow
            memcpy(packet.data, &command.payload[command.length/2], command.length/2);
            packet.length = command.length/2;
        } else {
            // Otherwise, cap to 32 bytes and prepare the unicast packets
            if (command.length > 32) {
                command.length = 32;
            }
            memcpy(packet.data, command.payload, command.length);
            packet.length = command.length;
        }
        
        if (state.datarate != 0 && state.channel <= 100) {
            bool acked = esb_send_packet(&packet, &ack, &rssi, &arc_counter);
            if (ack.length > 32) {
                LOG_DBG("Got an ack of size %d!", ack.length);
            }
            if (!state.ack_enabled) {
                led_pulse_green(K_MSEC(50));
            } else if (acked && ack.length <= 32) {
                static char usb_answer[33];
                usb_answer[0] = (arc_counter & 0x0f) << 4 | (rssi < 64)<<1 | 1;
                memcpy(&usb_answer[1], ack.data, ack.length);
            
                if (usb_write(CRAZYRADIO_IN_EP_ADDR, usb_answer, ack.length + 1, NULL)) {
                    LOG_DBG("ep 0x%x", CRAZYRADIO_IN_EP_ADDR);
                }

                led_pulse_green(K_MSEC(50));
            } else {
                char no_ack_answer[1] = {0};
        
                if (usb_write(CRAZYRADIO_IN_EP_ADDR, no_ack_answer, 1, NULL)) {
                    LOG_DBG("ep 0x%x", CRAZYRADIO_IN_EP_ADDR);
                }

                led_pulse_red(K_MSEC(50));
            }

        } else {
            LOG_DBG("Not sending, radio settings not handled!");
            char no_ack_answer[1] = {0};
        
            if (usb_write(CRAZYRADIO_IN_EP_ADDR, no_ack_answer, 1, NULL)) {
                LOG_DBG("ep 0x%x", CRAZYRADIO_IN_EP_ADDR);
            }

            led_pulse_red(K_MSEC(50));
        }

    }
}

static void fw_scan(uint8_t start, uint8_t stop, char* data, int data_length) {
    state.scan_result_length = 0;

    if (stop < start) {
        return;
    }

    static struct esbPacket_s packet;
    static struct esbPacket_s ack;
    uint8_t rssi;
    uint8_t retry;

    if (data_length > 32) {
        data_length = 32;
    }

    memcpy(packet.data, data, data_length);
    packet.length = data_length;

    for (int channel = start; channel <= stop; channel++) {
        esb_set_channel(channel);
        if (esb_send_packet(&packet, &ack, &rssi, &retry)) {
            led_pulse_green(K_MSEC(50));
            state.scan_result[state.scan_result_length++] = channel;
            if (state.scan_result_length >= 63) {
                return;
            }
        } else {
            led_pulse_red(K_MSEC(50));
        }
    }
}

// ****************** Public API *****************

int legacy_send(const struct usb_command *command) {
	 return k_msgq_put(&command_queue, command, K_NO_WAIT);
}

int legacy_receive(struct usb_command *command) {
	return k_msgq_get(&command_queue, command, K_NO_WAIT);
}

#endif
```

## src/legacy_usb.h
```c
#pragma once


#include <zephyr/kernel.h>

#include <zephyr/device.h>
#include <zephyr/drivers/uart.h>
#include <string.h>
#include <zephyr/drivers/gpio.h>

struct usb_command {
    char payload[64];
    uint32_t length;
};

int legacy_send(const struct usb_command *command);
int legacy_receive(struct usb_command *command);
```

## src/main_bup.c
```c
/**
 * ,---------,       ____  _ __
 * |  ,-^-,  |      / __ )(_) /_______________ _____  ___
 * | (  O  ) |     / __  / / __/ ___/ ___/ __ `/_  / / _ \
 * | / ,--´  |    / /_/ / / /_/ /__/ /  / /_/ / / /_/  __/
 *    +------`   /_____/_/\__/\___/_/   \__,_/ /___/\___/
 *
 * Copyright 2023 Bitcraze AB
 *
 * Permission is hereby granted, free of charge, to any person obtaining a copy of this software and associated
 * documentation files (the "Software"), to deal in the Software without restriction, including without limitation the
 * rights to use, copy, modify, merge, publish, distribute, sublicense, and/or sell copies of the Software, and to
 * permit persons to whom the Software is furnished to do so, subject to the following conditions:
 *
 * The above copyright notice and this permission notice shall be included in all copies or substantial portions of the
 * Software.
 *
 * THE SOFTWARE IS PROVIDED "AS IS", WITHOUT WARRANTY OF ANY KIND, EXPRESS OR IMPLIED, INCLUDING BUT NOT LIMITED TO THE
 * WARRANTIES OF MERCHANTABILITY, FITNESS FOR A PARTICULAR PURPOSE AND NONINFRINGEMENT. IN NO EVENT SHALL THE AUTHORS OR
 * COPYRIGHT HOLDERS BE LIABLE FOR ANY CLAIM, DAMAGES OR OTHER LIABILITY, WHETHER IN AN ACTION OF CONTRACT, TORT OR
 * OTHERWISE, ARISING FROM, OUT OF OR IN CONNECTION WITH THE SOFTWARE OR THE USE OR OTHER DEALINGS IN THE SOFTWARE.
 */

#include <zephyr/kernel.h>
#include <zephyr/sys/printk.h>

#include <zephyr/drivers/clock_control.h>
#include <zephyr/drivers/clock_control/nrf_clock_control.h>

#include <zephyr/usb/usb_device.h>

#include "radio_mode.h"
#include "led.h"
#include "crusb.h"
#include "fem.h"
#include "button.h"
#include "esb.h"

#include "rpc.h"
#include "api.h"

#include <tinycbor/cbor.h>
#include <tinycbor/cbor_buf_reader.h>
#include <tinycbor/cbor_buf_writer.h>

#include <nrfx_clock.h>

#include <zephyr/logging/log.h>

// ---- New Imports -------

#include <zephyr/device.h>
#include <zephyr/drivers/uart.h>
#include <zephyr/drivers/gpio.h>
#include <string.h>

// ------------------------ 
LOG_MODULE_REGISTER(main, LOG_LEVEL_INF);

// ---------------------- Uart Part -----------------------
// https://github.com/zephyrproject-rtos/zephyr/blob/v3.2-branch/samples/drivers/uart/echo_bot/src/main.c
#define MSG_SIZE 32
K_MSGQ_DEFINE(uart_msgq, MSG_SIZE, 10, 4);

#define UART_DEVICE_NODE DT_CHOSEN(zephyr_shell_uart)
static const struct device *const uart_dev = DEVICE_DT_GET(DT_NODELABEL(uart0)); 
//https://docs.zephyrproject.org/latest/kernel/drivers/index.html#c.DEVICE_DT_GET



static char rx_buf[MSG_SIZE];
static int rx_buf_pos;

void print_uart(char *buf)
{
	int msg_len = strlen(buf);

	for (int i = 0; i < msg_len; i++) {
		uart_poll_out(uart_dev, buf[i]);
	}
}

void serial_cb(const struct device *dev, void *user_data)
{
	uint8_t c;

	if (!uart_irq_update(uart_dev)) {
		return;
	}

	if (!uart_irq_rx_ready(uart_dev)) {
		return;
	}

	while (uart_fifo_read(uart_dev, &c, 1) == 1) {
		if ((c == '\n' || c == '\r') && rx_buf_pos > 0) {
			rx_buf[rx_buf_pos] = '\0';

			k_msgq_put(&uart_msgq, &rx_buf, K_NO_WAIT);

			rx_buf_pos = 0;
		} else if (rx_buf_pos < (sizeof(rx_buf) - 1)) {
			rx_buf[rx_buf_pos++] = c;
		}
		print_uart("data recieved");
	}
}


// --------------------------------------------------------

int startHFClock(void)
{
    nrfx_clock_hfclk_start();
	return 0;
}

#ifndef CONFIG_LEGACY_USB_PROTOCOL
K_MUTEX_DEFINE(usb_send_buffer_mutex);
void send_usb_message(char* data, size_t length) {
	static struct crusb_message message;
	if (length > USB_MTU) {
		return;
	}

	k_mutex_lock(&usb_send_buffer_mutex, K_FOREVER);
	memcpy(message.data, data, length);
	message.length = length;
	crusb_send(&message);
	k_mutex_unlock(&usb_send_buffer_mutex);
}
#endif

void main(void)
{
	

    printk("Hello World! %s\n", CONFIG_BOARD);

    // HFCLK crystal is needed by the radio and USB
    startHFClock();

    led_init();
	led_pulse_green(K_MSEC(500));
	led_pulse_red(K_MSEC(500));
	led_pulse_blue(K_MSEC(500));

	button_init();

#ifndef CONFIG_LEGACY_USB_PROTOCOL
    radio_mode_init();
#else
	esb_init();
#endif

	fem_init();

	// Test the FEM
	printk("Enaabling TX\n");
	fem_txen_set(true);
	k_sleep(K_MSEC(10));
	bool enabled = fem_is_pa_enabled();
	printk("PA enabled: %d\n", enabled);
	fem_txen_set(false);

	printk("Enaabling RX\n");
	fem_rxen_set(true);
	k_sleep(K_MSEC(10));
	enabled = fem_is_lna_enabled();
	printk("LNA enabled: %d\n", enabled);
	fem_rxen_set(false);

    int ret = usb_enable(NULL);
	if (ret != 0) {
		LOG_ERR("Failed to enable USB");
		return;
	}

#ifndef CONFIG_LEGACY_USB_PROTOCOL
	
	


	char tx_buf[MSG_SIZE];

	if (!device_is_ready(uart_dev)) {
		printk("UART device not found!");
		return;
	}

	/* configure interrupt and callback to receive data */
	uart_irq_callback_user_data_set(uart_dev, serial_cb, NULL);
	uart_irq_rx_enable(uart_dev);

	print_uart("Hello! I'm your echo bot.\r\n");
	print_uart("Tell me something and press enter:\r\n");

	/* indefinitely wait for input from the user */
	while (k_msgq_get(&uart_msgq, &tx_buf, K_FOREVER) == 0) {
		print_uart("Echo: ");
		print_uart(tx_buf);
		print_uart("\r\n");
	}


/*
	rpc_transport_t usb_transport = {
		.mtu = USB_MTU,
		.send = send_usb_message,
	};

    // RPC loop
    while(1) {
        static struct crusb_message message;
		static char response_buffer[USB_MTU];
        crusb_receive(&message);
		LOG_INF("Received %d byte message from usb!", message.length);

		rpc_error_t error = rpc_dispatch(&crazyradio2_rpc_api, message.data, message.length, usb_transport, response_buffer);
		LOG_INF("Dispatching result: %d", error);
    }
*/

#else
	while(1) {
		k_sleep(K_MSEC(1000));
	}
#endif
}
```
